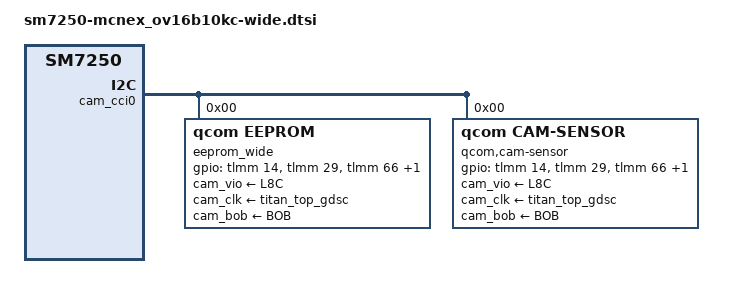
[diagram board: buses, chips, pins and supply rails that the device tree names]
#include <dt-bindings/clock/qcom,camcc-lito.h>

&cam_cci0 {
	eeprom_wide: qcom,eeprom@2 {
		cell-index = <2>;
		reg = <0>;
		compatible = "qcom,eeprom";
		cam_vio-supply = <&L8C>;
		cam_clk-supply = <&titan_top_gdsc>;
		cam_bob-supply = <&BOB>;
		regulator-names = "cam_vio", "cam_clk", "cam_bob";
		rgltr-cntrl-support;
		rgltr-min-voltage = <1800000 0 3008000>;
		rgltr-max-voltage = <1800000 0 3960000>;
		rgltr-load-current = <80000 0 2000000>;
		gpio-no-mux = <0>;
		pinctrl-names = "cam_default", "cam_suspend";
		pinctrl-0 = <&kc_cam_sensor_mclk1_active
				&kc_cam_sensor_active_wide>;
		pinctrl-1 = <&kc_cam_sensor_mclk1_suspend
				&kc_cam_sensor_suspend_wide>;
		gpios = <&tlmm 14 GPIO_ACTIVE_HIGH>,
			<&tlmm 29 GPIO_ACTIVE_HIGH>,
			<&tlmm 66 GPIO_ACTIVE_HIGH>,
			<&tlmm 25 GPIO_ACTIVE_HIGH>;
		gpio-reset = <1>;
		gpio-custom1 = <2>;
		gpio-custom2 = <3>;
		gpio-req-tbl-num = <0 1 2 3>;
		gpio-req-tbl-flags = <1 0 0 0>;
		gpio-req-tbl-label = "CAMIF_MCLK1",
					"CAM_RESET1",
					"CAM_AVDD1",
					"CAM_DVDD1";
		sensor-position = <0>;
		sensor-mode = <0>;
		cci-master = <0>;
		status = "ok";
		clocks = <&camcc CAM_CC_MCLK1_CLK>;
		clock-names = "cam_clk";
		clock-cntl-level = "turbo";
		clock-rates = <24000000>;
	};

	qcom,cam-sensor@2 {
		cell-index = <2>;
		compatible = "qcom,cam-sensor";
		reg = <0x0>;
		csiphy-sd-index = <2>;
		sensor-position-roll = <90>;
		sensor-position-pitch = <0>;
		sensor-position-yaw = <180>;
		eeprom-src = <&eeprom_wide>;
		cam_vio-supply = <&L8C>;
		cam_clk-supply = <&titan_top_gdsc>;
		cam_bob-supply = <&BOB>;
		regulator-names = "cam_vio", "cam_clk", "cam_bob";
		rgltr-cntrl-support;
		pwm-switch;
		rgltr-min-voltage = <1800000 0 3008000>;
		rgltr-max-voltage = <1800000 0 3960000>;
		rgltr-load-current = <80000 0 2000000>;
		gpio-no-mux = <0>;
		pinctrl-names = "cam_default", "cam_suspend";
		pinctrl-0 = <&kc_cam_sensor_mclk1_active
				&kc_cam_sensor_active_wide>;
		pinctrl-1 = <&kc_cam_sensor_mclk1_suspend
				&kc_cam_sensor_suspend_wide>;
		gpios = <&tlmm 14 GPIO_ACTIVE_HIGH>,
			<&tlmm 29 GPIO_ACTIVE_HIGH>,
			<&tlmm 66 GPIO_ACTIVE_HIGH>,
			<&tlmm 25 GPIO_ACTIVE_HIGH>;
		gpio-reset = <1>;
		gpio-custom1 = <2>;
		gpio-custom2 = <3>;
		gpio-req-tbl-num = <0 1 2 3>;
		gpio-req-tbl-flags = <1 0 0 0>;
		gpio-req-tbl-label = "CAMIF_MCLK1",
					"CAM_RESET1",
					"CAM_AVDD1",
					"CAM_DVDD1";
		sensor-mode = <0>;
		cci-master = <0>;
		status = "ok";
		clocks = <&camcc CAM_CC_MCLK1_CLK>;
		clock-names = "cam_clk";
		clock-cntl-level = "turbo";
		clock-rates = <24000000>;
	};
};


&tlmm {
	kc_cam_sensor_mclk1_active: kc_cam_sensor_mclk1_active {
		/* MCLK1 */
		mux {
			pins = "gpio14";
			function = "cam_mclk";
		};

		config {
			pins = "gpio14";
			bias-disable; /* No PULL */
			drive-strength = <6>; /* 6 mA */
		};
	};

	kc_cam_sensor_mclk1_suspend: kc_cam_sensor_mclk1_suspend {
		/* MCLK2 */
		mux {
			pins = "gpio14";
			function = "gpio";
		};

		config {
			pins = "gpio14";
			bias-disable; /* No PULL */
			drive-strength = <6>; /* 6 mA */
			output-low;
		};
	};

	kc_cam_sensor_active_wide: kc_cam_sensor_active_wide {
		/* RESET WIDE */
		mux {
			pins = "gpio29";
			function = "gpio";
		};

		config {
			pins = "gpio32";
			bias-disable; /* No PULL */
			drive-strength = <2>; /* 2 mA */
		};
	};

	kc_cam_sensor_suspend_wide: kc_cam_sensor_suspend_wide {
		/* RESET WIDE */
		mux {
			pins = "gpio29";
			function = "gpio";
		};

		config {
			pins = "gpio32";
			bias-disable; /* No PULL */
			drive-strength = <2>; /* 2 mA */
			output-low;
		};
	};
};

